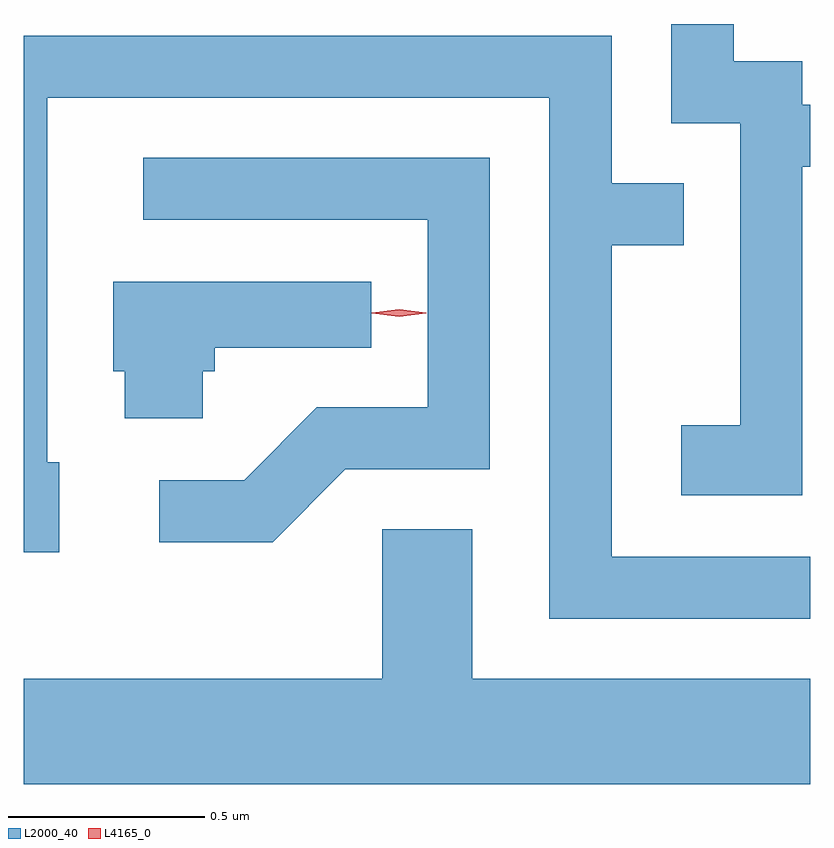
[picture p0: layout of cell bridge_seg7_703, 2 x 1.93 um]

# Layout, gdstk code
import gdstk
lib = gdstk.Library(unit=1e-6, precision=1e-09)
def P(c, l, *ps):  # polygons
    for p in ps: c.add(gdstk.Polygon(p, *l))
L2000_40 = (2000, 40)
L4165_0 = (4165, 0)

bridge_seg7_703 = lib.new_cell('bridge_seg7_703')
P(bridge_seg7_703, L2000_40, [(962.939,1695.906),(962.959,1695.906),(962.959,1696.064),(962.939,1696.064),(962.939,1696.174),(962.764,1696.174),(962.764,1696.269),(962.606,1696.269),(962.606,1696.016),(962.781,1696.016),(962.781,1695.249),(962.631,1695.249),(962.631,1695.071),(962.939,1695.071)],
  [(962.959,1694.914),(962.454,1694.914),(962.454,1695.706),(962.638,1695.706),(962.638,1695.864),(962.454,1695.864),(962.454,1696.239),(960.959,1696.239),(960.959,1694.926),(961.049,1694.926),(961.049,1695.154),(961.019,1695.154),(961.019,1696.081),(962.296,1696.081),(962.296,1694.756),(962.959,1694.756)],
  [(961.777,1695.136),(962.144,1695.136),(962.144,1695.929),(961.263,1695.929),(961.263,1695.771),(961.986,1695.771),(961.986,1695.294),(961.704,1695.294),(961.519,1695.109),(961.303,1695.109),(961.303,1694.951),(961.592,1694.951)],
  [(961.414,1695.386),(961.444,1695.386),(961.444,1695.446),(961.843,1695.446),(961.843,1695.614),(961.186,1695.614),(961.186,1695.386),(961.216,1695.386),(961.216,1695.266),(961.414,1695.266)],
  [(962.959,1694.604),(962.099,1694.604),(962.099,1694.984),(961.871,1694.984),(961.871,1694.604),(960.959,1694.604),(960.959,1694.336),(962.959,1694.336)])
P(bridge_seg7_703, L4165_0, [(961.914,1695.524),(961.844,1695.533),(961.844,1695.534),(961.844,1695.534),(961.914,1695.544),(961.983,1695.534),(961.983,1695.534),(961.983,1695.533)],
  [(961.914,1695.524),(961.847,1695.533),(961.847,1695.534),(961.847,1695.534),(961.914,1695.544),(961.98,1695.534),(961.981,1695.534),(961.98,1695.533)])

lib.write_gds('bridge_seg7_703.gds')
